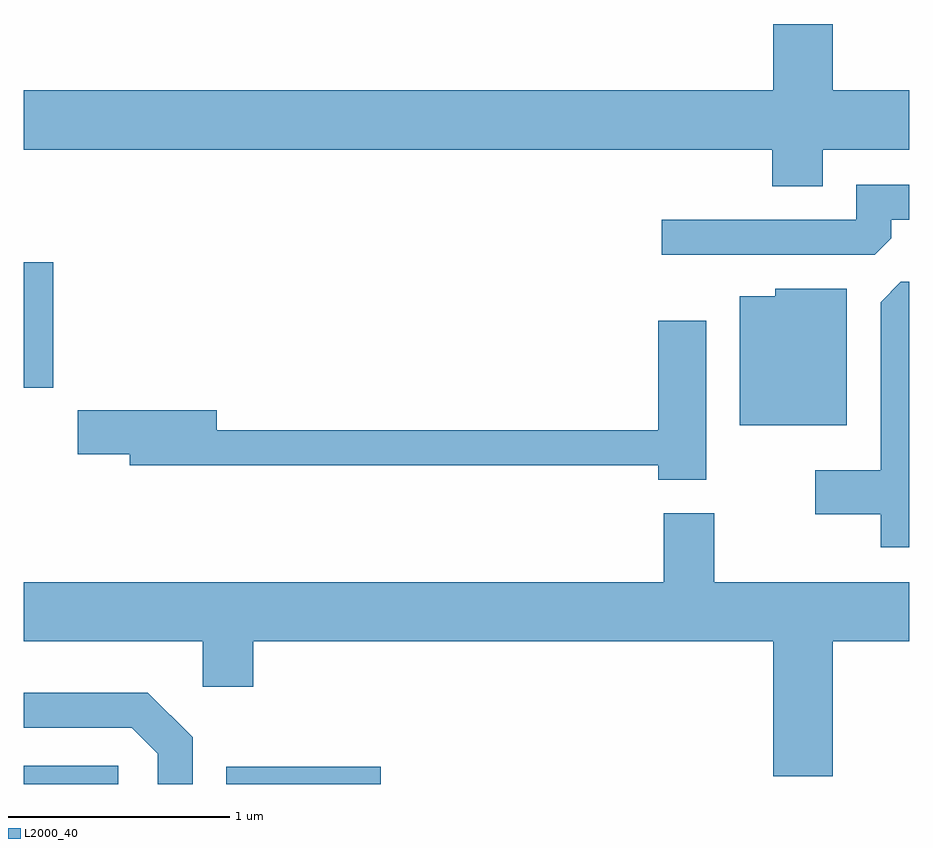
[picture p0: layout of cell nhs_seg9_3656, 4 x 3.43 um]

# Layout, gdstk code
import gdstk
lib = gdstk.Library(unit=1e-6, precision=1e-09)
def R(c, l, rs):  # rectangles x0, y0, x1, y1
    for r in rs: c.add(gdstk.rectangle(r[:2], r[2:], *l))
def P(c, l, *ps):  # polygons
    for p in ps: c.add(gdstk.Polygon(p, *l))
L2000_40 = (2000, 40)

nhs_seg9_3656 = lib.new_cell('nhs_seg9_3656')
R(nhs_seg9_3656, L2000_40, [(291.611,2064.432,292.039,2064.514), (292.526,2064.432,293.224,2064.509), (291.611,2066.221,291.744,2066.789)])
P(nhs_seg9_3656, L2000_40, [(295.219,2067.296),(295.611,2067.296),(295.611,2067.564),(295.264,2067.564),(295.264,2067.864),(294.996,2067.864),(294.996,2067.564),(291.611,2067.564),(291.611,2067.296),(294.991,2067.296),(294.991,2067.131),(295.219,2067.131)],
  [(295.529,2066.896),(295.529,2066.981),(295.611,2066.981),(295.611,2067.139),(295.371,2067.139),(295.371,2066.979),(294.493,2066.979),(294.493,2066.821),(295.454,2066.821)],
  [(295.611,2066.699),(295.572,2066.699),(295.481,2066.608),(295.481,2065.849),(295.186,2065.849),(295.186,2065.651),(295.481,2065.651),(295.481,2065.501),(295.611,2065.501)],
  [(295.329,2066.669),(295.006,2066.669),(295.006,2066.634),(294.846,2066.634),(294.846,2066.051),(295.329,2066.051)],
  [(294.694,2066.524),(294.476,2066.524),(294.476,2066.029),(292.484,2066.029),(292.484,2066.119),(291.856,2066.119),(291.856,2065.921),(292.091,2065.921),(292.091,2065.871),(294.476,2065.871),(294.476,2065.806),(294.694,2065.806)],
  [(295.264,2065.076),(295.611,2065.076),(295.611,2065.344),(294.729,2065.344),(294.729,2065.654),(294.501,2065.654),(294.501,2065.344),(291.611,2065.344),(291.611,2065.076),(292.421,2065.076),(292.421,2064.871),(292.649,2064.871),(292.649,2065.076),(294.996,2065.076),(294.996,2064.466),(295.264,2064.466)],
  [(292.374,2064.642),(292.172,2064.844),(291.611,2064.844),(291.611,2064.686),(292.099,2064.686),(292.216,2064.568),(292.216,2064.432),(292.374,2064.432)])

lib.write_gds('nhs_seg9_3656.gds')
